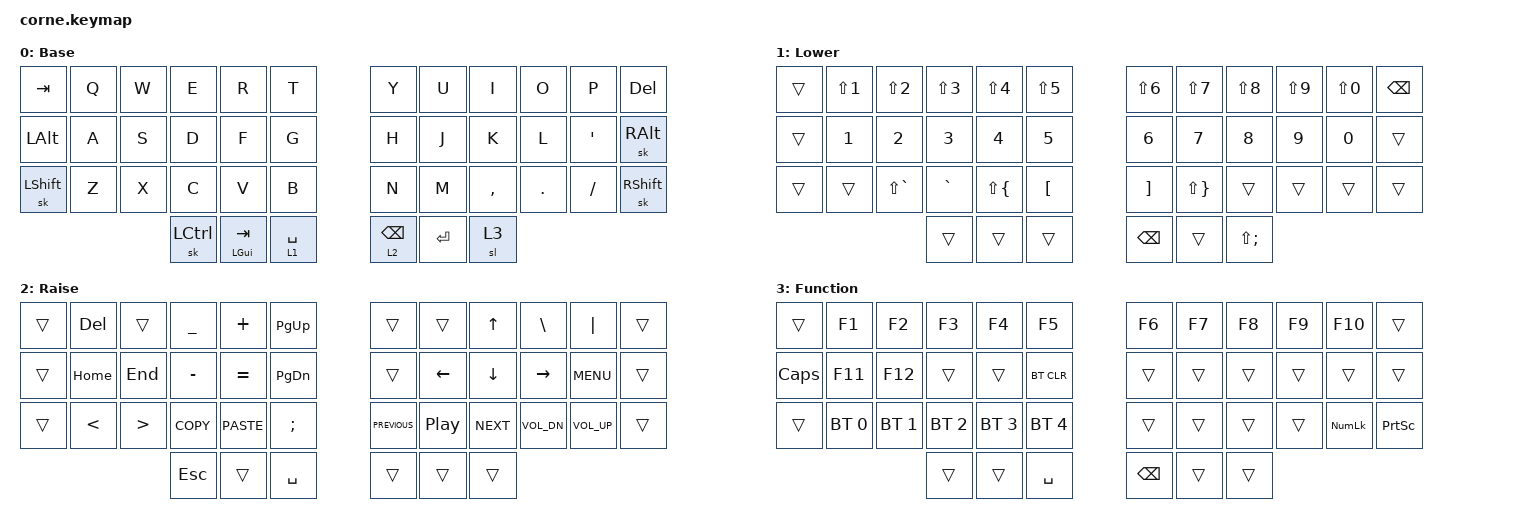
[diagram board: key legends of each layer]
/*
 * Copyright (c) 2020 The ZMK Contributors
 *
 * SPDX-License-Identifier: MIT
 */

#include <behaviors.dtsi>
#include <dt-bindings/zmk/bt.h>
#include <dt-bindings/zmk/keys.h>

/ {
    keymap {
        compatible = "zmk,keymap";

        default_layer {
            // -----------------------------------------------------------------------------------------
            // |  TAB |  Q  |  W  |  E  |  R  |  T  |   |  Y  |  U   |  I  |  O  |  P  | BKSP |
            // | CTRL |  A  |  S  |  D  |  F  |  G  |   |  H  |  J   |  K  |  L  |  ;  |  '   |
            // | SHFT |  Z  |  X  |  C  |  V  |  B  |   |  N  |  M   |  ,  |  .  |  /  | ESC  |
            //                    | GUI | LWR | SPC |   | ENT | RSE  | ALT |

            display-name = "Base";
            bindings = <
&kp TAB       &kp Q  &kp W  &kp E      &kp R             &kp T          &kp Y            &kp U      &kp I      &kp O    &kp P     &kp DELETE
&kp LEFT_ALT  &kp A  &kp S  &kp D      &kp F             &kp G          &kp H            &kp J      &kp K      &kp L    &kp SQT   &sk RIGHT_ALT
&sk LSHFT     &kp Z  &kp X  &kp C      &kp V             &kp B          &kp N            &kp M      &kp COMMA  &kp DOT  &kp FSLH  &sk RIGHT_SHIFT
                            &sk LCTRL  &mt LEFT_GUI TAB  &lt 1 SPACE    &lt 2 BACKSPACE  &kp ENTER  &sl 3
            >;
        };

        lower_layer {
            // -----------------------------------------------------------------------------------------
            // |  TAB |  1  |  2  |  3  |  4  |  5  |   |  6  |  7  |  8  |  9  |  0  | BKSP |
            // | BTCLR| BT1 | BT2 | BT3 | BT4 | BT5 |   | LFT | DWN |  UP | RGT |     |      |
            // | SHFT |     |     |     |     |     |   |     |     |     |     |     |      |
            //                    | GUI |     | SPC |   | ENT |     | ALT |

            display-name = "Lower";
            bindings = <
&trans  &kp LS(NUMBER_1)  &kp LS(NUMBER_2)  &kp LS(NUMBER_3)  &kp LS(NUMBER_4)    &kp LS(NUMBER_5)    &kp LS(NUMBER_6)   &kp LS(NUMBER_7)     &kp LS(NUMBER_8)   &kp LS(NUMBER_9)  &kp LS(NUMBER_0)  &kp BSPC
&trans  &kp N1            &kp N2            &kp N3            &kp N4              &kp N5              &kp N6             &kp N7               &kp N8             &kp N9            &kp N0            &trans
&trans  &trans            &kp LS(GRAVE)     &kp GRAVE         &kp LS(LEFT_BRACE)  &kp LEFT_BRACKET    &kp RIGHT_BRACKET  &kp LS(RIGHT_BRACE)  &trans             &trans            &trans            &trans
                                            &trans            &trans              &trans              &kp BACKSPACE      &trans               &kp LS(SEMICOLON)
            >;
        };

        raise_layer {
            // -----------------------------------------------------------------------------------------
            // |  TAB |  !  |  @  |  #  |  $  |  %  |   |  ^  |  &  |  *  |  (  |  )  | BKSP |
            // | CTRL |     |     |     |     |     |   |  -  |  =  |  [  |  ]  |  \  |  `   |
            // | SHFT |     |     |     |     |     |   |  _  |  +  |  {  |  }  | "|" |  ~   |
            //                    | GUI |     | SPC |   | ENT |     | ALT |

            display-name = "Raise";
            bindings = <
&trans  &kp DELETE     &trans            &kp UNDER   &kp PLUS     &kp PAGE_UP      &trans          &trans    &kp UP      &kp BACKSLASH  &kp PIPE         &trans
&trans  &kp HOME       &kp END           &kp MINUS   &kp EQUAL    &kp PAGE_DOWN    &trans          &kp LEFT  &kp DOWN    &kp RIGHT      &kp K_MENU       &trans
&trans  &kp LESS_THAN  &kp GREATER_THAN  &kp K_COPY  &kp K_PASTE  &kp SEMICOLON    &kp C_PREVIOUS  &kp C_PP  &kp C_NEXT  &kp C_VOL_DN   &kp C_VOLUME_UP  &trans
                                         &kp ESCAPE  &trans       &kp SPACE        &trans          &trans    &trans
            >;
        };

        function_layer {
            bindings = <
&trans        &kp F1        &kp F2        &kp F3        &kp F4        &kp F5          &kp F6         &kp F7  &kp F8  &kp F9  &kp F10         &trans
&kp CAPSLOCK  &kp F11       &kp F12       &trans        &trans        &bt BT_CLR      &trans         &trans  &trans  &trans  &trans          &trans
&trans        &bt BT_SEL 0  &bt BT_SEL 1  &bt BT_SEL 2  &bt BT_SEL 3  &bt BT_SEL 4    &trans         &trans  &trans  &trans  &kp KP_NUMLOCK  &kp PRINTSCREEN
                                          &trans        &trans        &kp SPACE       &kp BACKSPACE  &trans  &trans
            >;

            label = "Function";
        };
    };
};
